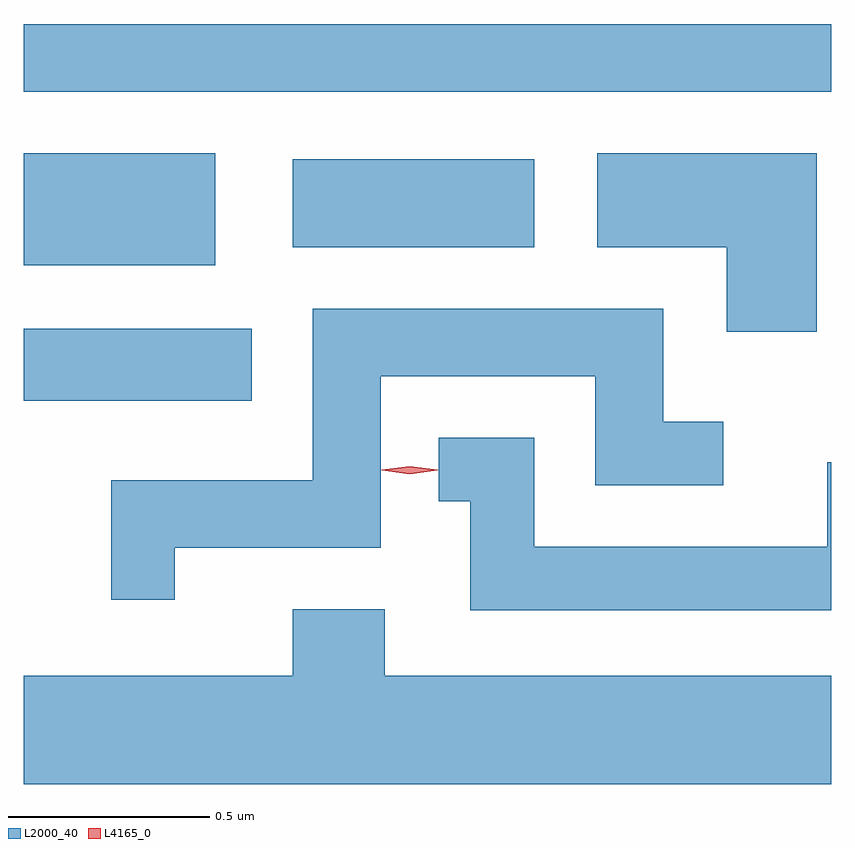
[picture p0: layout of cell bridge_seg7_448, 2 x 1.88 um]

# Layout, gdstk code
import gdstk
lib = gdstk.Library(unit=1e-6, precision=1e-09)
def R(c, l, rs):  # rectangles x0, y0, x1, y1
    for r in rs: c.add(gdstk.rectangle(r[:2], r[2:], *l))
def P(c, l, *ps):  # polygons
    for p in ps: c.add(gdstk.Polygon(p, *l))
L2000_40 = (2000, 40)
L4165_0 = (4165, 0)

bridge_seg7_448 = lib.new_cell('bridge_seg7_448')
R(bridge_seg7_448, L2000_40, [(1169.185,1710.826,1169.749,1711.004), (1169.185,1711.161,1169.659,1711.439), (1169.851,1711.206,1170.449,1711.424), (1169.185,1711.591,1171.185,1711.759)])
P(bridge_seg7_448, L2000_40, [(1171.149,1711.439),(1170.606,1711.439),(1170.606,1711.206),(1170.926,1711.206),(1170.926,1710.996),(1171.149,1710.996)],
  [(1169.559,1710.461),(1170.069,1710.461),(1170.069,1710.886),(1170.601,1710.886),(1170.601,1710.616),(1170.918,1710.616),(1170.918,1710.774),(1170.769,1710.774),(1170.769,1711.054),(1169.901,1711.054),(1169.901,1710.629),(1169.401,1710.629),(1169.401,1710.333),(1169.559,1710.333)],
  [(1171.185,1710.673),(1171.176,1710.673),(1171.176,1710.464),(1170.449,1710.464),(1170.449,1710.734),(1170.213,1710.734),(1170.213,1710.576),(1170.291,1710.576),(1170.291,1710.306),(1171.185,1710.306)],
  [(1171.185,1710.144),(1170.079,1710.144),(1170.079,1710.309),(1169.851,1710.309),(1169.851,1710.144),(1169.185,1710.144),(1169.185,1709.876),(1171.185,1709.876)])
P(bridge_seg7_448, L4165_0, [(1170.141,1710.643),(1170.072,1710.653),(1170.072,1710.653),(1170.072,1710.654),(1170.141,1710.663),(1170.211,1710.654),(1170.211,1710.653),(1170.211,1710.653)])

lib.write_gds('bridge_seg7_448.gds')
